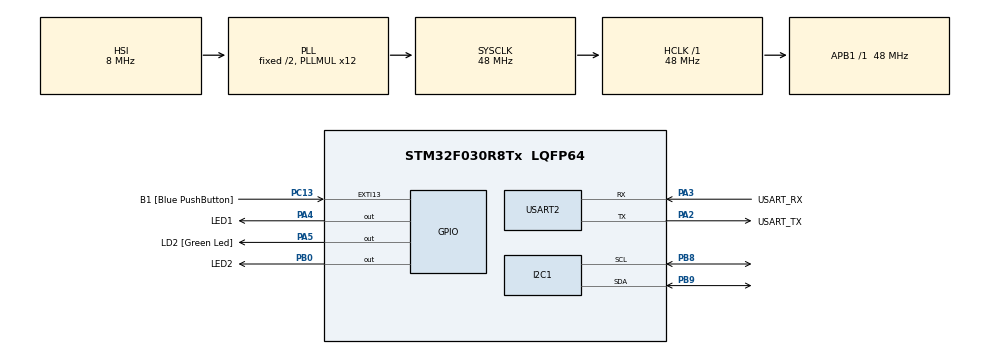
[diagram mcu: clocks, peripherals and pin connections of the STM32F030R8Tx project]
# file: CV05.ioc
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Dma.Request0=USART2_RX
Dma.USART2_RX.0.Direction=DMA_PERIPH_TO_MEMORY
Dma.USART2_RX.0.Instance=DMA1_Channel5
Dma.USART2_RX.0.MemDataAlignment=DMA_MDATAALIGN_BYTE
Dma.USART2_RX.0.MemInc=DMA_MINC_ENABLE
Dma.USART2_RX.0.Mode=DMA_CIRCULAR
Dma.USART2_RX.0.PeriphDataAlignment=DMA_PDATAALIGN_BYTE
Dma.USART2_RX.0.PeriphInc=DMA_PINC_DISABLE
Dma.USART2_RX.0.Priority=DMA_PRIORITY_LOW
Mcu.Family=STM32F0
Mcu.Name=STM32F030R8Tx
Mcu.Package=LQFP64
NVIC.DMA1_Channel4_5_IRQn=true\:0\:0\:false\:false\:true\:false\:true
PA13.GPIO_Label=TMS
PA13.Mode=Serial_Wire
PA13.Signal=SYS_SWDIO
PA14.GPIO_Label=TCK
PA14.Mode=Serial_Wire
PA14.Signal=SYS_SWCLK
PA2.GPIO_Label=USART_TX
PA2.GPIO_Mode=GPIO_MODE_AF_PP
PA2.GPIO_PuPd=GPIO_NOPULL
PA2.GPIO_Speed=GPIO_SPEED_FREQ_LOW
PA2.Mode=Asynchronous
PA2.Signal=USART2_TX
PA3.GPIO_Label=USART_RX
PA3.GPIO_Mode=GPIO_MODE_AF_PP
PA3.GPIO_PuPd=GPIO_NOPULL
PA3.GPIO_Speed=GPIO_SPEED_FREQ_LOW
PA3.Mode=Asynchronous
PA3.Signal=USART2_RX
PA4.GPIO_Label=LED1
PA4.Signal=GPIO_Output
PA5.GPIO_Label=LD2 [Green Led]
PA5.GPIO_Mode=GPIO_MODE_OUTPUT_PP
PA5.GPIO_PuPd=GPIO_NOPULL
PA5.GPIO_Speed=GPIO_SPEED_FREQ_LOW
PA5.Signal=GPIO_Output
PB0.GPIO_Label=LED2
PB0.Signal=GPIO_Output
PB8.Mode=I2C
PB8.Signal=I2C1_SCL
PB9.Mode=I2C
PB9.Signal=I2C1_SDA
PC13.GPIO_Label=B1 [Blue PushButton]
PC13.GPIO_ModeDefaultEXTI=GPIO_MODE_IT_FALLING
PC13.Signal=GPXTI13
PC14-OSC32_IN.Mode=LSE-External-Oscillator
PC14-OSC32_IN.Signal=RCC_OSC32_IN
PC15-OSC32_OUT.Mode=LSE-External-Oscillator
PC15-OSC32_OUT.Signal=RCC_OSC32_OUT
PF0-OSC_IN.Mode=HSE-External-Clock-Source
PF0-OSC_IN.Signal=RCC_OSC_IN
PF1-OSC_OUT.Signal=RCC_OSC_OUT
ProjectManager.HeapSize=0x200
ProjectManager.StackSize=0x400
ProjectManager.TargetToolchain=STM32CubeIDE
RCC.AHBFreq_Value=48000000
RCC.APB1Freq_Value=48000000
RCC.APB1TimFreq_Value=48000000
RCC.HCLKFreq_Value=48000000
RCC.PLLMUL=RCC_PLL_MUL12
RCC.SYSCLKFreq_VALUE=48000000
RCC.SYSCLKSource=RCC_SYSCLKSOURCE_PLLCLK
USART2.VirtualMode-Asynchronous=VM_ASYNC
board=NUCLEO-F030R8

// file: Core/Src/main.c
/* USER CODE BEGIN Header */
/**
  ******************************************************************************
  * @file           : main.c
  * @brief          : Main program body
  ******************************************************************************
  * @attention
  *
  * <h2><center>&copy; Copyright (c) 2021 STMicroelectronics.
  * All rights reserved.</center></h2>
  *
  * This software component is licensed by ST under BSD 3-Clause license,
  * the "License"; You may not use this file except in compliance with the
  * License. You may obtain a copy of the License at:
  *                        opensource.org/licenses/BSD-3-Clause
  *
  ******************************************************************************
  */

/* DMA primy pristup uzivatele do pameti
 *
 *
 *
 */
/* USER CODE END Header */
#include "main.h"

/* USER CODE BEGIN Includes */
#include <stdio.h>
#include <string.h>
#include <stdlib.h>

/* USER CODE END Includes */

/* USER CODE BEGIN PD */

//Promena pro ukol 1
//uint8_t c;

// 64 bity delky bufferu
#define RX_BUFFER_LEN 64
static uint8_t uart_rx_buf[RX_BUFFER_LEN];
// Dokud cteci pointer neni rovny zapisovemu, posouvame ho o byte dal
static volatile uint16_t uart_rx_read_ptr = 0;
// Zapisovy ukazatel, vytahuje z DMA prislusny registr
#define uart_rx_write_ptr (RX_BUFFER_LEN - hdma_usart2_rx.Instance->CNDTR)
// Definovani bufferu pro textovy prikaz
#define CMD_BUFFER_LEN 256

// Adresa pro pripojeny EEPROM Microchip 24LC64-I/SN
#define EEPROM_ADDR 0xA0

/* USER CODE END PD */

I2C_HandleTypeDef hi2c1;

UART_HandleTypeDef huart2;
DMA_HandleTypeDef hdma_usart2_rx;

void SystemClock_Config(void);
static void MX_GPIO_Init(void);
static void MX_DMA_Init(void);
static void MX_USART2_UART_Init(void);
static void MX_I2C1_Init(void);

/* USER CODE BEGIN 0 */
static void uart_process_command(char *cmd) {
	printf("prijato: '%s'\n", cmd);

	char *token;
	uint8_t addr;
	uint8_t value;

	token = strtok(cmd, " ");
	if (strcasecmp(token, "HELLO") == 0) {
		printf("Komunikace OK\n");
	}
	else if (strcasecmp(token, "LED1") == 0) {
		token = strtok(NULL, " ");
		if (strcasecmp(token, "ON") == 0) {
			printf("ZAPINAM JEDNICKU\n");
//			if(HAL_GPIO_ReadPin(LED1_GPIO_Port, LED1_Pin) == 0){
//				printf("ZAPINAM JEDNICKU\n");
//				HAL_GPIO_WritePin(LED1_GPIO_Port, LED1_Pin, 1);
//			}
//			else {
//				printf("JEDNICKA UZ SVITI\n");
//			}
			HAL_GPIO_WritePin(LED1_GPIO_Port, LED1_Pin, 1);
		}
		else if (strcasecmp(token, "OFF") == 0) {
			HAL_GPIO_WritePin(LED1_GPIO_Port, LED1_Pin, GPIO_PIN_RESET);
			printf("VYPINAM JEDNICKU\n");
		}
	}

	else if (strcasecmp(token, "LED2") == 0) {
		token = strtok(NULL, " ");
		if (strcasecmp(token, "ON") == 0) {
			printf("ZAPINAM DVOJKU\n");
			HAL_GPIO_WritePin(LED2_GPIO_Port, LED2_Pin, 1);
//			if(HAL_GPIO_ReadPin(LED2_GPIO_Port, LED2_Pin) == 0){
//				printf("ZAPINAM DVOJKU\n");
//				HAL_GPIO_WritePin(LED1_GPIO_Port, LED1_Pin, 1);
//			}
//			else {
//				printf("JEDNICKA UZ SVITI\n");
//			}
		}
		else if (strcasecmp(token, "OFF") == 0) {
			HAL_GPIO_WritePin(LED2_GPIO_Port, LED2_Pin, GPIO_PIN_RESET);
			printf("VYPINAM DVOJKU\n");
		}
	}
	else if (strcasecmp(token, "STATUS") == 0) {

		printf("Stav LED1: %d LED2: %d\n", HAL_GPIO_ReadPin(LED2_GPIO_Port, LED2_Pin), HAL_GPIO_ReadPin(LED1_GPIO_Port, LED1_Pin));

	}
	else if (strcasecmp(token, "READ") == 0) {
		token = strtok(NULL, " ");
		addr = atoi(token);
		HAL_I2C_Mem_Read(&hi2c1, EEPROM_ADDR, addr, I2C_MEMADD_SIZE_16BIT, &value, 1, 1000);
		printf("READ adresa: %d %d\n", addr, value);

	}
	else if (strcasecmp(token, "WRITE") == 0) {
		token = strtok(NULL, " ");
		addr = atoi(token);
		token = strtok(NULL, " ");
		value = atoi(token);
		printf("WRITE adresa: %d, hodnota: %d\n", addr, value);
		HAL_I2C_Mem_Write(&hi2c1, EEPROM_ADDR, addr, I2C_MEMADD_SIZE_16BIT, &value, 1, 1000);
		while (HAL_I2C_IsDeviceReady(&hi2c1, EEPROM_ADDR, 300, 1000) == HAL_TIMEOUT) {}
	}

	else if (strcasecmp(token, "DUMP") == 0){
		addr = 0;
		uint8_t EEPROM_content[16];
		HAL_I2C_Mem_Read(&hi2c1, EEPROM_ADDR, addr, I2C_MEMADD_SIZE_16BIT, EEPROM_content, 1+66, 1000);

		for (addr = 0; addr < 16; addr++){
//			HAL_I2C_Mem_Read(&hi2c1, EEPROM_ADDR, addr, I2C_MEMADD_SIZE_16BIT, &value, 1, 1000);
//			printf("%02x ",value);
			printf("%02x ",EEPROM_content[addr]);
			if (addr%8 == 7){
				printf("\n");
			}
		}
	}
}

static void uart_byte_available(uint8_t c) {
	static uint16_t cnt;
	static char data[CMD_BUFFER_LEN];
	if (cnt < CMD_BUFFER_LEN && c >= 32 && c <= 126) data[cnt++] = c;
	if ((c == '\n' || c == '\r') && cnt > 0) {
		data[cnt] = '\0';
		uart_process_command(data);
		cnt = 0;
	}
}

int _write(int file, char const *buf, int n) {
	/* stdout redirection to UART2 */
	HAL_UART_Transmit(&huart2, (uint8_t*)(buf), n, HAL_MAX_DELAY);
	return n;
}

/* USER CODE END 0 */

int main(void)
{

  /* MCU Configuration--------------------------------------------------------*/

  /* Reset of all peripherals, Initializes the Flash interface and the Systick. */
  HAL_Init();

  /* Configure the system clock */
  SystemClock_Config();

  /* Initialize all configured peripherals */
  MX_GPIO_Init();
  MX_DMA_Init();
  MX_USART2_UART_Init();
  MX_I2C1_Init();
  /* USER CODE BEGIN 2 */

  //Aktivace DMA cteni z UART
  HAL_UART_Receive_DMA(&huart2, uart_rx_buf, RX_BUFFER_LEN);

//funkce na piny
//  HAL_GPIO_WritePin(LD2_GPIO_Port, LD2_Pin, GPIO_PIN_RESET);
//  HAL_GPIO_WritePin(LD2_GPIO_Port, LD2_Pin, GPIO_PIN_RESET);
  /* USER CODE END 2 */

  /* Infinite loop */
  /* USER CODE BEGIN WHILE */
  while (1)
  {

//	  HAL_UART_Receive(&huart2, &c, 1, HAL_MAX_DELAY);
//	  HAL_UART_Transmit(&huart2, &c, 1, HAL_MAX_DELAY);

	  while (uart_rx_read_ptr != uart_rx_write_ptr) {
		  uint8_t b = uart_rx_buf[uart_rx_read_ptr];
		  if (++uart_rx_read_ptr >= RX_BUFFER_LEN) uart_rx_read_ptr = 0; // increase read pointer

		  uart_byte_available(b); // process every received byte with the RX state machine}

	  }

    /* USER CODE END WHILE */

  }
}

void SystemClock_Config(void)
{
  RCC_OscInitTypeDef RCC_OscInitStruct = {0};
  RCC_ClkInitTypeDef RCC_ClkInitStruct = {0};
  RCC_PeriphCLKInitTypeDef PeriphClkInit = {0};

  /** Initializes the RCC Oscillators according to the specified parameters
  * in the RCC_OscInitTypeDef structure.
  */
  RCC_OscInitStruct.OscillatorType = RCC_OSCILLATORTYPE_HSI;
  RCC_OscInitStruct.HSIState = RCC_HSI_ON;
  RCC_OscInitStruct.HSICalibrationValue = RCC_HSICALIBRATION_DEFAULT;
  RCC_OscInitStruct.PLL.PLLState = RCC_PLL_ON;
  RCC_OscInitStruct.PLL.PLLSource = RCC_PLLSOURCE_HSI;
  RCC_OscInitStruct.PLL.PLLMUL = RCC_PLL_MUL12;
  RCC_OscInitStruct.PLL.PREDIV = RCC_PREDIV_DIV1;
  if (HAL_RCC_OscConfig(&RCC_OscInitStruct) != HAL_OK)
  {
    Error_Handler();
  }
  /** Initializes the CPU, AHB and APB buses clocks
  */
  RCC_ClkInitStruct.ClockType = RCC_CLOCKTYPE_HCLK|RCC_CLOCKTYPE_SYSCLK
                              |RCC_CLOCKTYPE_PCLK1;
  RCC_ClkInitStruct.SYSCLKSource = RCC_SYSCLKSOURCE_PLLCLK;
  RCC_ClkInitStruct.AHBCLKDivider = RCC_SYSCLK_DIV1;
  RCC_ClkInitStruct.APB1CLKDivider = RCC_HCLK_DIV1;

  if (HAL_RCC_ClockConfig(&RCC_ClkInitStruct, FLASH_LATENCY_1) != HAL_OK)
  {
    Error_Handler();
  }
  PeriphClkInit.PeriphClockSelection = RCC_PERIPHCLK_I2C1;
  PeriphClkInit.I2c1ClockSelection = RCC_I2C1CLKSOURCE_HSI;
  if (HAL_RCCEx_PeriphCLKConfig(&PeriphClkInit) != HAL_OK)
  {
    Error_Handler();
  }
}

static void MX_I2C1_Init(void)
{

  hi2c1.Instance = I2C1;
  hi2c1.Init.Timing = 0x2000090E;
  hi2c1.Init.OwnAddress1 = 0;
  hi2c1.Init.AddressingMode = I2C_ADDRESSINGMODE_7BIT;
  hi2c1.Init.DualAddressMode = I2C_DUALADDRESS_DISABLE;
  hi2c1.Init.OwnAddress2 = 0;
  hi2c1.Init.OwnAddress2Masks = I2C_OA2_NOMASK;
  hi2c1.Init.GeneralCallMode = I2C_GENERALCALL_DISABLE;
  hi2c1.Init.NoStretchMode = I2C_NOSTRETCH_DISABLE;
  if (HAL_I2C_Init(&hi2c1) != HAL_OK)
  {
    Error_Handler();
  }
  /** Configure Analogue filter
  */
  if (HAL_I2CEx_ConfigAnalogFilter(&hi2c1, I2C_ANALOGFILTER_ENABLE) != HAL_OK)
  {
    Error_Handler();
  }
  /** Configure Digital filter
  */
  if (HAL_I2CEx_ConfigDigitalFilter(&hi2c1, 0) != HAL_OK)
  {
    Error_Handler();
  }

}

static void MX_USART2_UART_Init(void)
{

  huart2.Instance = USART2;
  huart2.Init.BaudRate = 38400;
  huart2.Init.WordLength = UART_WORDLENGTH_8B;
  huart2.Init.StopBits = UART_STOPBITS_1;
  huart2.Init.Parity = UART_PARITY_NONE;
  huart2.Init.Mode = UART_MODE_TX_RX;
  huart2.Init.HwFlowCtl = UART_HWCONTROL_NONE;
  huart2.Init.OverSampling = UART_OVERSAMPLING_16;
  huart2.Init.OneBitSampling = UART_ONE_BIT_SAMPLE_DISABLE;
  huart2.AdvancedInit.AdvFeatureInit = UART_ADVFEATURE_NO_INIT;
  if (HAL_UART_Init(&huart2) != HAL_OK)
  {
    Error_Handler();
  }

}

static void MX_DMA_Init(void)
{

  /* DMA controller clock enable */
  __HAL_RCC_DMA1_CLK_ENABLE();

  /* DMA interrupt init */
  /* DMA1_Channel4_5_IRQn interrupt configuration */
  HAL_NVIC_SetPriority(DMA1_Channel4_5_IRQn, 0, 0);
  HAL_NVIC_EnableIRQ(DMA1_Channel4_5_IRQn);

}

static void MX_GPIO_Init(void)
{
  GPIO_InitTypeDef GPIO_InitStruct = {0};

  /* GPIO Ports Clock Enable */
  __HAL_RCC_GPIOC_CLK_ENABLE();
  __HAL_RCC_GPIOF_CLK_ENABLE();
  __HAL_RCC_GPIOA_CLK_ENABLE();
  __HAL_RCC_GPIOB_CLK_ENABLE();

  /*Configure GPIO pin Output Level */
  HAL_GPIO_WritePin(GPIOA, LED1_Pin|LD2_Pin, GPIO_PIN_RESET);

  /*Configure GPIO pin Output Level */
  HAL_GPIO_WritePin(LED2_GPIO_Port, LED2_Pin, GPIO_PIN_RESET);

  /*Configure GPIO pin : B1_Pin */
  GPIO_InitStruct.Pin = B1_Pin;
  GPIO_InitStruct.Mode = GPIO_MODE_IT_FALLING;
  GPIO_InitStruct.Pull = GPIO_NOPULL;
  HAL_GPIO_Init(B1_GPIO_Port, &GPIO_InitStruct);

  /*Configure GPIO pins : LED1_Pin LD2_Pin */
  GPIO_InitStruct.Pin = LED1_Pin|LD2_Pin;
  GPIO_InitStruct.Mode = GPIO_MODE_OUTPUT_PP;
  GPIO_InitStruct.Pull = GPIO_NOPULL;
  GPIO_InitStruct.Speed = GPIO_SPEED_FREQ_LOW;
  HAL_GPIO_Init(GPIOA, &GPIO_InitStruct);

  /*Configure GPIO pin : LED2_Pin */
  GPIO_InitStruct.Pin = LED2_Pin;
  GPIO_InitStruct.Mode = GPIO_MODE_OUTPUT_PP;
  GPIO_InitStruct.Pull = GPIO_NOPULL;
  GPIO_InitStruct.Speed = GPIO_SPEED_FREQ_LOW;
  HAL_GPIO_Init(LED2_GPIO_Port, &GPIO_InitStruct);

}

void Error_Handler(void)
{
  __disable_irq();
  while (1)
  {
  }
}

/************************ (C) COPYRIGHT STMicroelectronics *****END OF FILE****/
